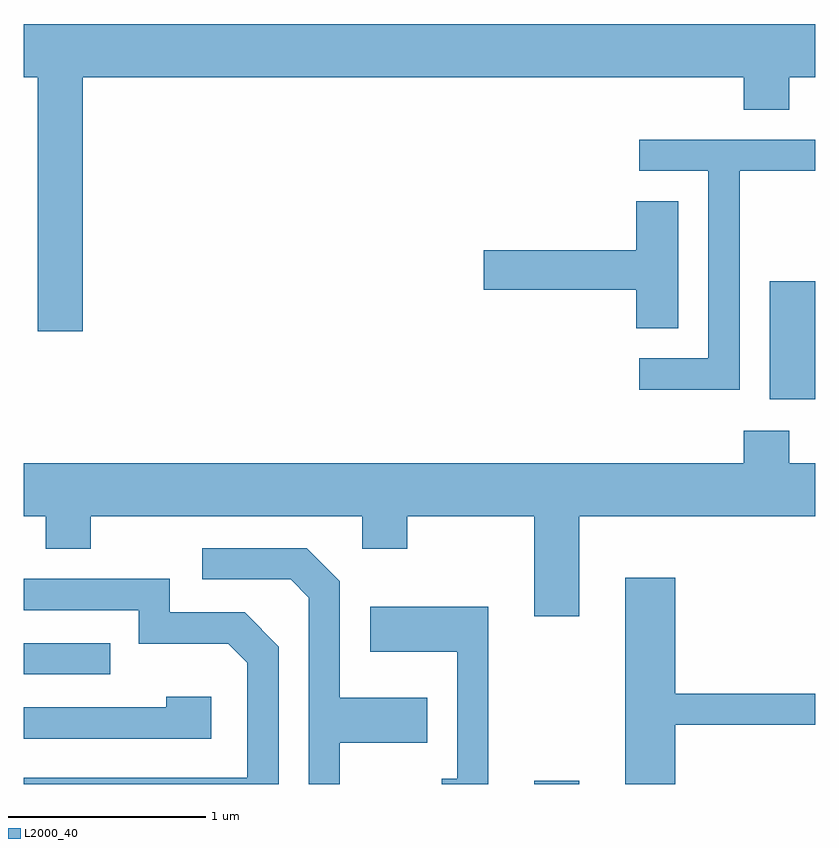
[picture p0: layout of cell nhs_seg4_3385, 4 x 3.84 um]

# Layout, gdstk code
import gdstk
lib = gdstk.Library(unit=1e-6, precision=1e-09)
def R(c, l, rs):  # rectangles x0, y0, x1, y1
    for r in rs: c.add(gdstk.rectangle(r[:2], r[2:], *l))
def P(c, l, *ps):  # polygons
    for p in ps: c.add(gdstk.Polygon(p, *l))
L2000_40 = (2000, 40)

nhs_seg4_3385 = lib.new_cell('nhs_seg4_3385')
R(nhs_seg4_3385, L2000_40, [(286.191,1359.982,286.419,1359.999), (283.611,1360.536,284.048,1360.694), (287.381,1361.926,287.611,1362.524)])
P(nhs_seg4_3385, L2000_40, [(283.611,1363.556),(283.681,1363.556),(283.681,1362.271),(283.909,1362.271),(283.909,1363.556),(287.251,1363.556),(287.251,1363.391),(287.479,1363.391),(287.479,1363.556),(287.611,1363.556),(287.611,1363.824),(283.611,1363.824)],
  [(287.229,1363.081),(287.611,1363.081),(287.611,1363.239),(286.723,1363.239),(286.723,1363.081),(287.071,1363.081),(287.071,1362.134),(286.723,1362.134),(286.723,1361.976),(287.229,1361.976)],
  [(286.919,1362.929),(286.706,1362.929),(286.706,1362.679),(285.936,1362.679),(285.936,1362.481),(286.706,1362.481),(286.706,1362.286),(286.919,1362.286)],
  [(286.419,1361.336),(287.611,1361.336),(287.611,1361.604),(287.479,1361.604),(287.479,1361.769),(287.251,1361.769),(287.251,1361.604),(283.611,1361.604),(283.611,1361.336),(283.721,1361.336),(283.721,1361.171),(283.949,1361.171),(283.949,1361.336),(285.321,1361.336),(285.321,1361.171),(285.549,1361.171),(285.549,1361.336),(286.191,1361.336),(286.191,1360.831),(286.419,1360.831)],
  [(285.209,1360.191),(285.649,1360.191),(285.649,1360.419),(285.209,1360.419),(285.209,1361.007),(285.042,1361.174),(284.513,1361.174),(284.513,1361.016),(284.959,1361.016),(285.051,1360.924),(285.051,1359.982),(285.209,1359.982)],
  [(286.904,1360.281),(287.611,1360.281),(287.611,1360.439),(286.904,1360.439),(286.904,1361.024),(286.651,1361.024),(286.651,1359.982),(286.904,1359.982)],
  [(284.899,1360.677),(284.727,1360.849),(284.349,1360.849),(284.349,1361.019),(283.611,1361.019),(283.611,1360.861),(284.191,1360.861),(284.191,1360.691),(284.644,1360.691),(284.741,1360.594),(284.741,1360.014),(283.611,1360.014),(283.611,1359.982),(284.899,1359.982)],
  [(285.959,1360.879),(285.361,1360.879),(285.361,1360.651),(285.801,1360.651),(285.801,1360.009),(285.723,1360.009),(285.723,1359.982),(285.959,1359.982)],
  [(284.559,1360.424),(284.331,1360.424),(284.331,1360.369),(283.611,1360.369),(283.611,1360.211),(284.559,1360.211)])

lib.write_gds('nhs_seg4_3385.gds')
